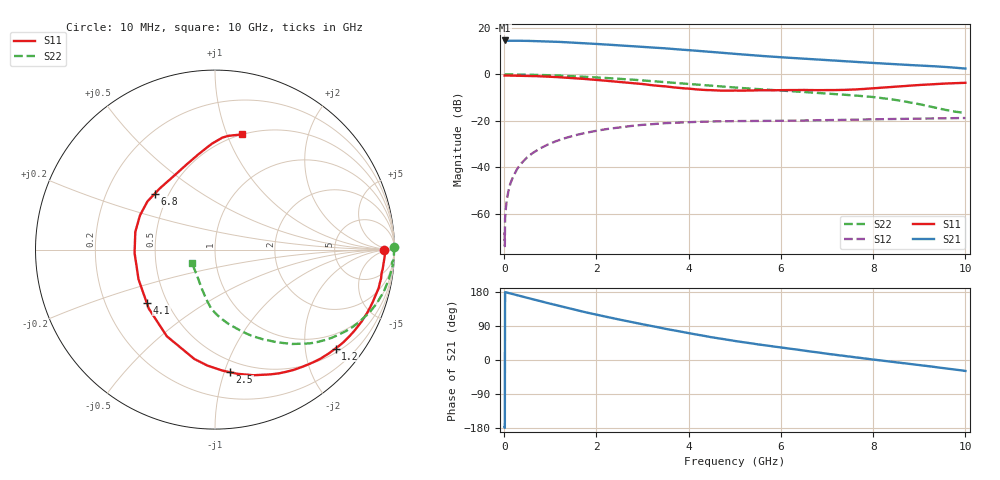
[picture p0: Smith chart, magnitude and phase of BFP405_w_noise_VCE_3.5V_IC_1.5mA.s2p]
! Infineon Technologies  Discrete & RF Semiconductors
! BFP405
! VCE =  3.5 V,  IC =  1.5 mA
! Common Emitter S-Parameters:  Jan 2016
# GHz  S  MA  R  50
!  f  S11  S21  S12  S22
! GHz  MAG  ANG  MAG  ANG  MAG  ANG  MAG  ANG
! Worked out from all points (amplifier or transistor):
!   233 points, 10 MHz to 10 GHz, reference 50 ohm
!   highest |S21| = 14.6 dB at 10 MHz (marker M1)
!   |S21| within 3 dB of that: start of sweep to 3.163 GHz
!   unconditionally stable (mu >= 1): 4.738 GHz to end of sweep
!   at 200 MHz: K = 0.05, MSG = 29.2 dB, |S12| = -43.9 dB
!   at 1.74 GHz: K = 0.26, MSG = 19.4 dB, |S12| = -25.3 dB
!   at 10 GHz: K = 1.79, MAG = 5.5 dB, |S12| = -18.8 dB
!   lowest NFmin = 0.79 dB at 900 MHz
!   S11 on the Smith chart (normalised r, x): 10 MHz: 33, +0; 1.2 GHz: 0.59, -2.68; 2.5 GHz: 0.40, -1.04; 4.1 GHz: 0.39, -0.30; 6.8 GHz: 0.42, +0.33; 10 GHz: 0.50, +1.13
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0.01  0.9413 0.0  5.381 -177.3  0.0004 -75.9  1 0.7
0.015  0.9432 -0.3  5.34 -179.2  0.0002 63.5  0.9968 0.5
0.02  0.9452 -0.6  5.304 178.9  0.0008 82.5  0.9937 0.2
0.055  0.9464 -1.9  5.279 178.4  0.0019 75.6  0.9974 -0.6
0.09  0.9449 -3.0  5.302 176.8  0.003 84.9  0.9976 -1.4
0.16  0.9414 -5.2  5.298 175.0  0.0052 85.5  0.9955 -2.7
0.28  0.9383 -9.1  5.308 171.2  0.0091 84.4  0.9917 -4.7
0.5  0.9302 -16.3  5.274 164.2  0.0164 81.3  0.9858 -8.3
0.8  0.9096 -26.2  5.185 154.8  0.0261 76.2  0.9709 -13.3
1.2  0.8689 -39.4  5.008 142.5  0.0388 68.9  0.9416 -19.8
1.68  0.8067 -55.3  4.734 128.5  0.0527 60.1  0.8953 -27.1
2.06  0.7509 -68.1  4.487 118.1  0.0625 53.5  0.854 -32.5
2.5  0.6878 -83.1  4.212 106.7  0.0724 46.2  0.8032 -38.3
2.98  0.6225 -100.0  3.93 94.8  0.0816 38.6  0.7454 -44.4
3.4  0.5609 -115.1  3.679 84.8  0.0876 32.2  0.6916 -49.4
4.1  0.4819 -142.2  3.272 68.7  0.0946 22.9  0.6082 -57.4
4.5  0.4571 -158.8  3.049 60.0  0.0972 18.1  0.5662 -61.9
5.1  0.4473 179.4  2.722 48.4  0.0989 12.2  0.5126 -67.9
6  0.4595 155.4  2.342 33.0  0.1001 5.9  0.4486 -75.6
6.8  0.458 137.3  2.089 20.0  0.1027 1.7  0.399 -82.8
8.4  0.5361 100.4  1.673 -4.6  0.1094 -6.7  0.2902 -98.6
10  0.6593 76.8  1.337 -28.9  0.1151 -13.8  0.1485 -149.3
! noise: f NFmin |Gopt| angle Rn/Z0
0.9  0.79  0.64  15  0.47
1.8  1.18  0.51  29  0.42
2.4  1.41  0.42  40  0.39
3  1.48  0.42  55  0.36
4  1.72  0.3  82  0.27
5  2.06  0.26  118  0.21
